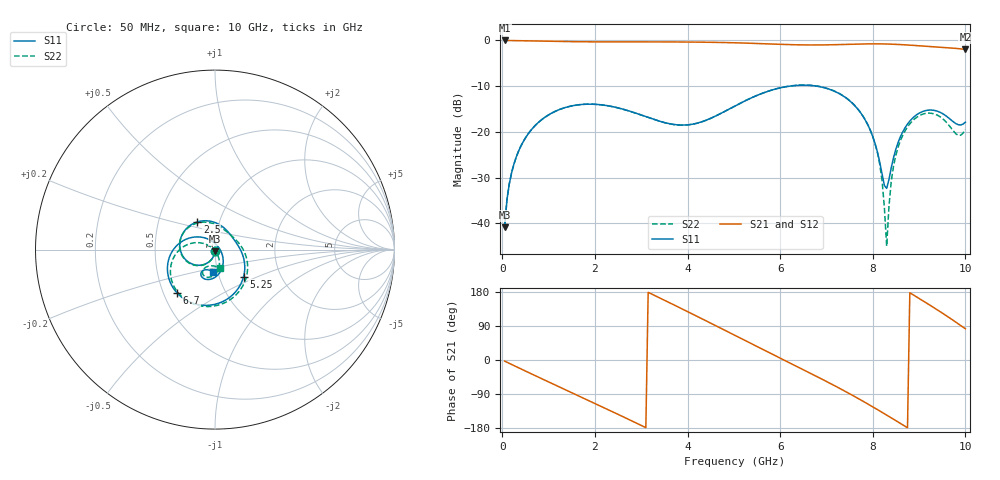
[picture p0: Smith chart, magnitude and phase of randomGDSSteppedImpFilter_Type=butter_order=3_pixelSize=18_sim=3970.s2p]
! freq	dB(S11)	phase(S11)	dB(S12)	phase(S12)
!  dB(S21)	phase(S21)	dB(S22)	phase(S22)
!S-par simulation data
#  GHz  S  DB  R 50
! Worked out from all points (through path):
!   200 points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, 50 MHz to 10 GHz, reference 50 ohm
!   highest |S21| = -0.01 dB at 50 MHz (marker M1); lowest = -2.0 dB at 10 GHz (marker M2)
!   group delay of S21, straight-line fit = 173 ps
!   lowest |S11| = -40.9 dB at 50 MHz (marker M3), VSWR 1.02, Z = 50 - j0.905 ohm
!   |S11| at or under -10 dB: start of sweep to 6.201 GHz; 6.794 GHz to end of sweep
!   |S22| runs from -45.0 to -9.8 dB; largest |S21 - S12| = 0
!   S11 on the Smith chart (normalised r, x): 50 MHz: 1.00, -0.02; 2.5 GHz: 0.79, +0.25; 5.25 GHz: 1.30, -0.41; 6.7 GHz: 0.59, -0.32; 10 GHz: 0.95, -0.25
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0.05  -40.85 -92.3  -0.01 -3.0  -0.01 -3.0  -40.86 -92.2
0.2  -28.97 -101.6  -0.03 -11.7  -0.03 -11.7  -28.97 -101.3
0.5  -21.31 -120.0  -0.07 -29.1  -0.07 -29.1  -21.31 -119.2
1.15  -15.47 -158.1  -0.21 -66.4  -0.21 -66.4  -15.47 -156.1
1.75  -13.97 167.0  -0.30 -100.5  -0.30 -100.5  -13.98 170.4
2.5  -14.75 122.6  -0.32 -143.4  -0.32 -143.4  -14.76 128.8
3.4  -17.67 67.2  -0.32 163.7  -0.32 163.7  -17.69 78.7
4.3  -17.81 12.0  -0.38 109.5  -0.38 109.5  -17.83 25.2
5.05  -14.19 -31.8  -0.52 63.4  -0.52 63.4  -14.19 -22.4
5.25  -13.17 -43.6  -0.58 51.1  -0.58 51.1  -13.16 -35.0
5.95  -10.50 -85.6  -0.83 7.9  -0.83 7.9  -10.48 -78.4
6.7  -9.88 -131.4  -0.99 -37.9  -0.99 -37.9  -9.85 -123.9
7.3  -11.77 -170.3  -0.90 -75.8  -0.90 -75.8  -11.73 -160.8
7.8  -16.77 152.0  -0.77 -109.5  -0.77 -109.5  -16.71 167.3
8.15  -26.57 106.7  -0.75 -134.5  -0.75 -134.5  -27.06 147.6
8.25  -31.72 63.5  -0.77 -141.7  -0.77 -141.7  -36.41 153.3
8.3  -32.34 26.0  -0.78 -145.4  -0.78 -145.4  -44.98 -135.2
8.35  -30.38 -5.8  -0.79 -149.1  -0.79 -149.1  -36.24 -69.8
8.5  -23.73 -46.7  -0.86 -160.2  -0.86 -160.2  -25.03 -66.8
8.85  -17.09 -82.3  -1.06 173.8  -1.06 173.8  -17.67 -87.2
9.5  -15.96 -119.7  -1.51 124.0  -1.51 124.0  -17.04 -119.5
10  -17.87 -93.8  -1.97 82.4  -1.97 82.4  -19.48 -75.3
